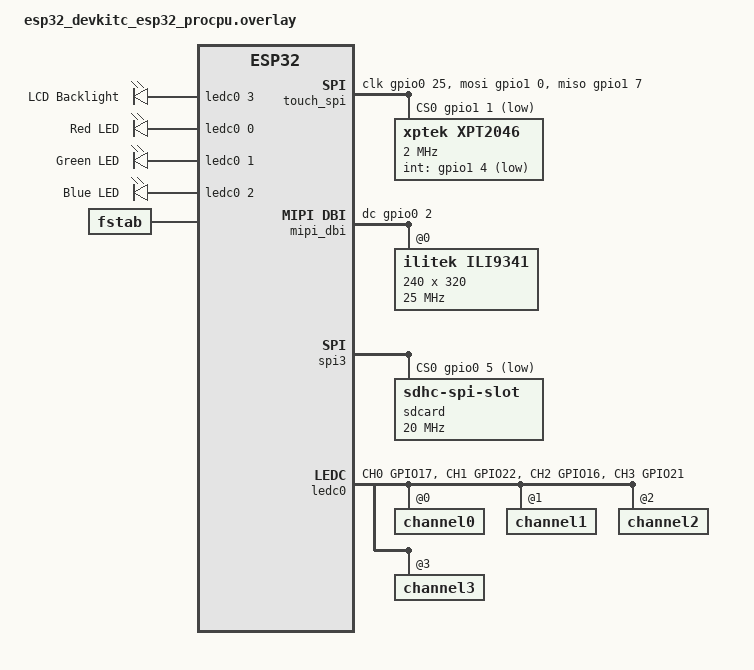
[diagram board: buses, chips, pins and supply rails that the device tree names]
#include <zephyr/dt-bindings/pwm/pwm.h>
#include <zephyr/dt-bindings/display/panel.h>
#include <zephyr/dt-bindings/pinctrl/esp32-pinctrl.h>
#include <zephyr/dt-bindings/input/input-event-codes.h>

/ {
	chosen {
		zephyr,display = &ili9341;
		zephyr,touch = &xpt2046;
	};

	pwmleds_backlight: pwmleds-backlight {
		compatible = "pwm-leds";

		lcd_backlight: lcd_backlight {
			pwms = <&ledc0 3 PWM_HZ(1000) PWM_POLARITY_NORMAL>;
			label = "LCD Backlight";
		};
	};

	pwmleds {
		compatible = "pwm-leds";

		pwm_led_red: pwm_led_red {
			pwms = <&ledc0 0 PWM_HZ(1000) PWM_POLARITY_INVERTED>;
			label = "Red LED";
		};

		pwm_led_green: pwm_led_green {
			pwms = <&ledc0 1 PWM_HZ(1000) PWM_POLARITY_INVERTED>;
			label = "Green LED";
		};

		pwm_led_blue: pwm_led_blue {
			pwms = <&ledc0 2 PWM_HZ(1000) PWM_POLARITY_INVERTED>;
			label = "Blue LED";
		};
	};

	aliases {
		led0 = &pwm_led_red;
		led1 = &pwm_led_green;
		led2 = &pwm_led_blue;
	};

	fstab {
		compatible = "zephyr,fstab";
		sd: sd {
			compatible = "zephyr,fstab,fatfs";
			mount-point = "/SD:";
			disk-access;
			automount;
		};
	};

	touch_spi: touch-spi {
		compatible = "zephyr,spi-bitbang";
		#address-cells = <1>;
		#size-cells = <0>;
		status = "okay";
		clk-gpios = <&gpio0 25 GPIO_ACTIVE_HIGH>;
		mosi-gpios = <&gpio1 0 GPIO_ACTIVE_HIGH>;
		miso-gpios = <&gpio1 7 GPIO_ACTIVE_HIGH>;
		cs-gpios = <&gpio1 1 GPIO_ACTIVE_LOW>;

		xpt2046: xpt2046@0 {
			compatible = "xptek,xpt2046";
			reg = <0>;
			spi-max-frequency = <2000000>;
			int-gpios = <&gpio1 4 GPIO_ACTIVE_LOW>;
			touchscreen-size-x = <320>;
			touchscreen-size-y = <240>;
			min-x = <300>;
			min-y = <300>;
			max-x = <3800>;
			max-y = <3800>;
			z-threshold = <150>;
			reads = <3>;
		};
	};
};

&psram0 {
	status = "disabled";
};

&i2c0 {
	status = "disabled";
};

&spi2 {
	cs-gpios = <&gpio0 15 GPIO_ACTIVE_LOW>;
	dma-enabled;
};

/ {
	mipi_dbi: mipi_dbi {
		compatible = "zephyr,mipi-dbi-spi";
		spi-dev = <&spi2>;
		dc-gpios = <&gpio0 2 GPIO_ACTIVE_HIGH>;
		write-only;
		#address-cells = <1>;
		#size-cells = <0>;

		ili9341: ili9341@0 {
			compatible = "ilitek,ili9341";
			reg = <0>;
			mipi-max-frequency = <25000000>;
			pixel-format = <PANEL_PIXEL_FORMAT_RGB_565>;
			height = <320>;
			width = <240>;
			h-mirror;
		};
	};
};

&spi3 {
	cs-gpios = <&gpio0 5 GPIO_ACTIVE_LOW>;

	sdcard: sdcard@0 {
		compatible = "zephyr,sdhc-spi-slot";
		reg = <0>;
		status = "okay";

		mmc {
			compatible = "zephyr,sdmmc-disk";
			disk-name = "SD";
			status = "okay";
		};

		spi-max-frequency = <20000000>;
	};
};

&pinctrl {
	ledc0_default: ledc0_default {
		group1 {
			pinmux = <LEDC_CH0_GPIO17>,
				 <LEDC_CH1_GPIO22>,
				 <LEDC_CH2_GPIO16>;
			output-enable;
			bias-pull-up;
		};
		group2 {
			pinmux = <LEDC_CH3_GPIO21>;
			output-enable;
			bias-pull-down;
		};
	};
};

&ledc0 {
	status = "okay";
	pinctrl-0 = <&ledc0_default>;
	pinctrl-names = "default";
	#address-cells = <1>;
	#size-cells = <0>;

	channel0@0 {
		reg = <0x0>;
		timer = <0>;
	};

	channel1@1 {
		reg = <0x1>;
		timer = <0>;
	};

	channel2@2 {
		reg = <0x2>;
		timer = <0>;
	};

	channel3@3 {
		reg = <0x3>;
		timer = <0>;
	};
};
